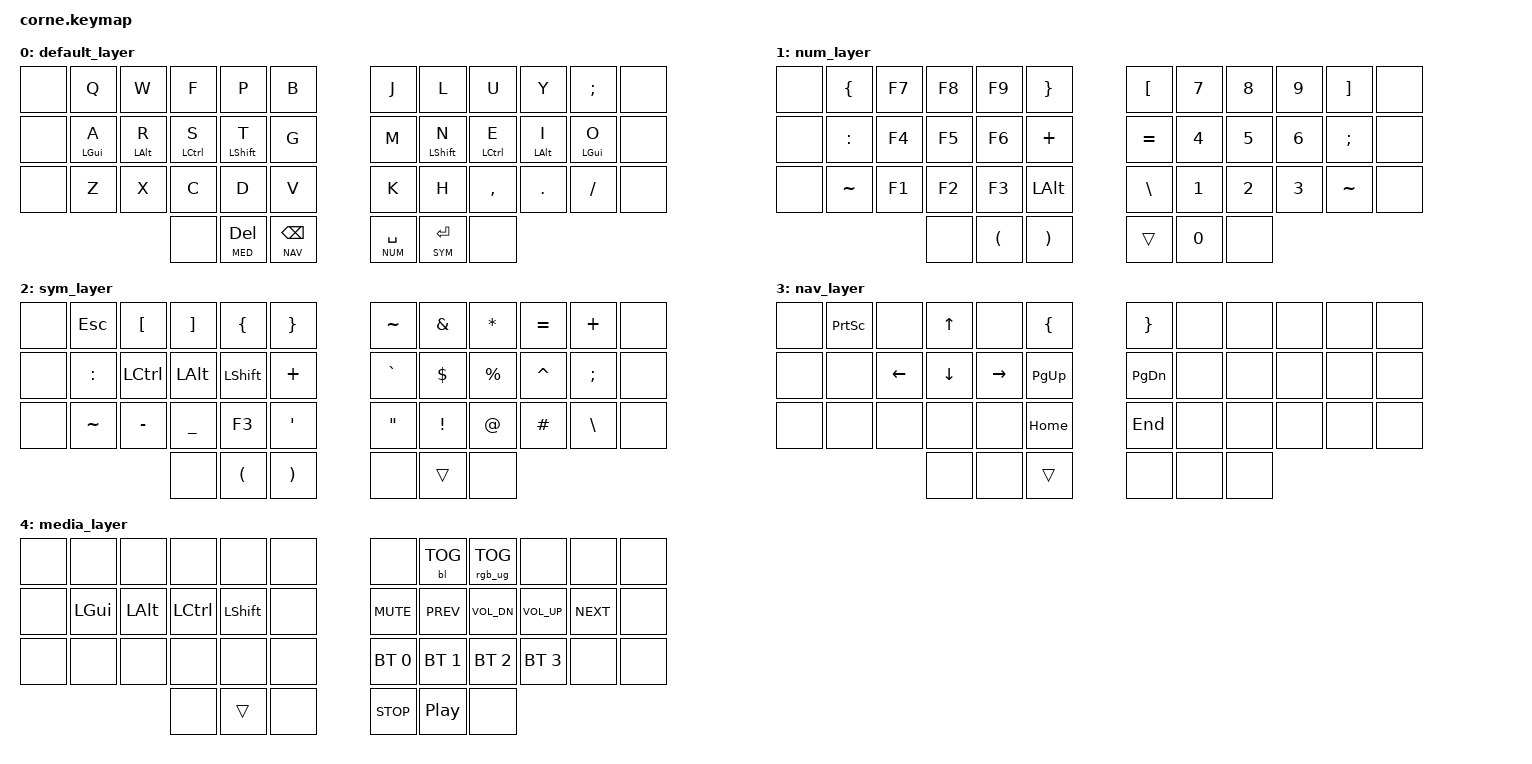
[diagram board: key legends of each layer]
#include <behaviors.dtsi>
#include <dt-bindings/zmk/keys.h>
#include <dt-bindings/zmk/bt.h>
#include <dt-bindings/zmk/backlight.h>
#include <dt-bindings/zmk/rgb.h>

#define BASE    0
#define NUM     1
#define SYM     2
#define NAV     3
#define MED     4
#define FUN     5 

#define ZMK_POINTING_DEFAULT_MOVE_VAL 1500  // default: 600
#define ZMK_POINTING_DEFAULT_SCRL_VAL 20    // default: 10

/ {
    behaviors {
        hm: homerow_mods {
            compatible = "zmk,behavior-hold-tap";
            label = "HOMEROW_MODS";
            #binding-cells = <2>;
            tapping-term-ms = <200>;
            quick-tap-ms = <0>;
            flavor = "tap-preferred";
            bindings = <&kp>, <&kp>;
        };
    };
    
    keymap {
        compatible = "zmk,keymap";

        default_layer {
            bindings = <
    &none &kp Q       &kp W       &kp F       &kp P        &kp B          &kp J         &kp L         &kp U       &kp Y           &kp SEMI   &none
    &none &hm LGUI A  &hm LALT R  &hm LCTRL S &hm LSHFT T  &kp G          &kp M         &hm LSHFT N   &hm LCTRL E &hm LALT I      &hm LGUI O &none
    &none &kp Z       &kp X       &kp C       &kp D        &kp V          &kp K         &kp H         &kp COMMA   &kp DOT         &kp FSLH   &none
                                  &none       &lt MED DEL  &lt NAV BSPC   &lt NUM SPACE &lt SYM RET   &none  
            >;
        };

        num_layer {
            bindings = <
    &none &kp LBRC    &kp F7      &kp F8      &kp F9     &kp RBRC                     &kp LBKT  &kp N7      &kp N8      &kp N9     &kp RBKT  &none 
    &none &kp COLON   &kp F4      &kp F5      &kp F6     &kp PLUS                     &kp EQUAL &kp N4      &kp N5      &kp N6     &kp SEMI  &none 
    &none &kp TILDE   &kp F1      &kp F2      &kp F3     &kp LALT                     &kp BSLH  &kp N1      &kp N2      &kp N3     &kp TILDE &none 
                                  &none       &kp LPAR   &kp RPAR                     &trans    &kp N0      &none
            >;
        };

        sym_layer {
            bindings = <
    &none &kp ESC     &kp LBKT    &kp RBKT    &kp LBRC   &kp RBRC                     &kp TILDE &kp AMPS   &kp ASTRK   &kp EQUAL &kp PLUS &none 
    &none &kp COLON   &kp LCTRL   &kp LALT    &kp LSHFT  &kp PLUS                     &kp GRAVE &kp DOLLAR &kp PERCENT &kp CARET &kp SEMI &none 
    &none &kp TILDE   &kp MINUS   &kp UNDER   &kp F3     &kp SQT                      &kp DQT   &kp EXCL   &kp AT      &kp HASH  &kp BSLH &none 
                                  &none       &kp LPAR   &kp RPAR                     &none     &trans     &none
            >;
        };

        nav_layer {
            bindings = <
    &none &kp PSCRN   &none       &kp UP      &none      &kp LBRC             &kp RBRC  &none          &none          &none           &none   &none 
    &none &none       &kp LEFT    &kp DOWN    &kp RIGHT  &kp PG_UP            &kp PG_DN &none          &none          &none           &none   &none
    &none &none       &none       &none       &none      &kp HOME             &kp END   &none          &none          &none           &none   &none
                                  &none       &none      &trans               &none     &none          &none
            >;
        };

        media_layer {
            bindings = <
    &none &none       &none       &none       &none       &none                           &none        &bl BL_TOG   &rgb_ug RGB_TOG &none           &none        &none 
    &none &kp LGUI    &kp LALT    &kp LCTRL   &kp LSHFT   &none                           &kp C_MUTE   &kp C_PREV   &kp C_VOL_DN    &kp C_VOL_UP    &kp C_NEXT   &none  
    &none &none       &none       &none       &none       &none                           &bt BT_SEL 0 &bt BT_SEL 1 &bt BT_SEL 2    &bt BT_SEL 3    &none        &none
                                  &none       &trans      &none                           &kp C_STOP   &kp C_PP     &none     
            >;
        };

/*        fun_layer {
            bindings = <
    &none &kp F12 &kp F7  &kp F8  &kp F9      &kp PSCRN                           &none &none     &none     &none    &none    &none
    &none &kp F11 &kp F4  &kp F5  &kp F6      &kp SLCK                            &none &kp RSHFT &kp RCTRL &kp RALT &kp RGUI &none 
    &none &kp F10 &kp F1  &kp F2  &kp F3      &kp PAUSE_BREAK                     &none &none     &none     &none    &none    &none 
                            &kp K_APP   &kp SPACE       &kp TAB     &none   &none   &trans
            >;
        }; */

    };
};
